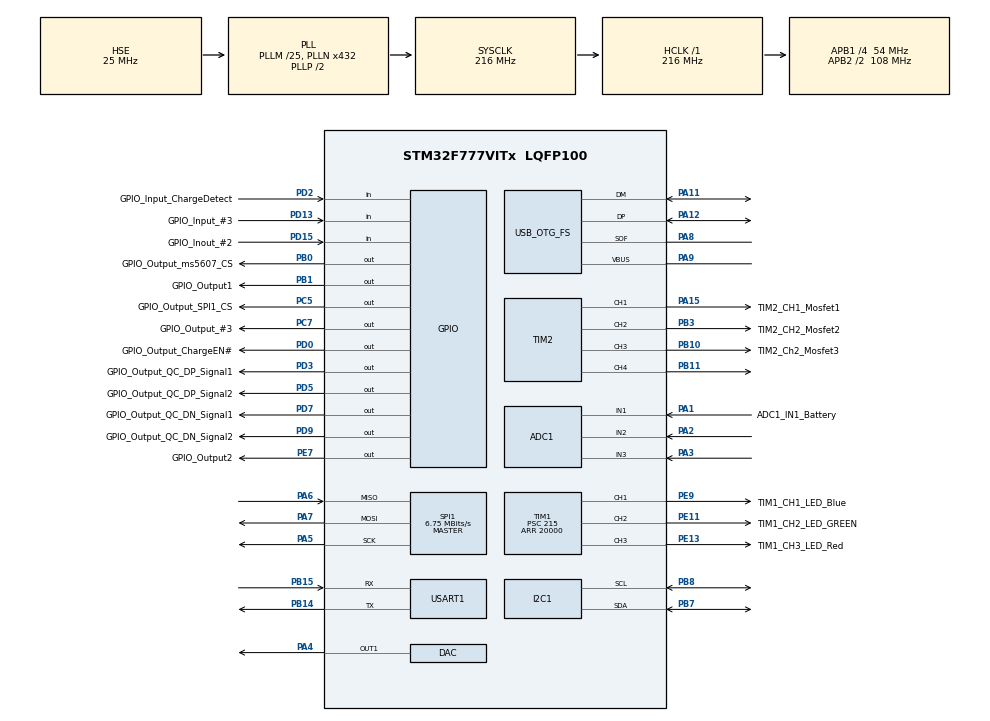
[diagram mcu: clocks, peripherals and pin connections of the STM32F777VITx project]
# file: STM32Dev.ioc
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ADC1.Channel-0\#ChannelRegularConversion=ADC_CHANNEL_1
ADC1.Channel-1\#ChannelRegularConversion=ADC_CHANNEL_1
ADC1.Channel-2\#ChannelRegularConversion=ADC_CHANNEL_1
ADC1.NbrOfConversion=3
ADC1.NbrOfConversionFlag=1
ADC1.Rank-0\#ChannelRegularConversion=1
ADC1.Rank-1\#ChannelRegularConversion=2
ADC1.Rank-2\#ChannelRegularConversion=3
ADC1.SamplingTime-0\#ChannelRegularConversion=ADC_SAMPLETIME_84CYCLES
ADC1.SamplingTime-1\#ChannelRegularConversion=ADC_SAMPLETIME_84CYCLES
ADC1.SamplingTime-2\#ChannelRegularConversion=ADC_SAMPLETIME_84CYCLES
ADC1.master=1
Dma.ADC1.1.Direction=DMA_PERIPH_TO_MEMORY
Dma.ADC1.1.FIFOMode=DMA_FIFOMODE_DISABLE
Dma.ADC1.1.Instance=DMA2_Stream0
Dma.ADC1.1.MemDataAlignment=DMA_MDATAALIGN_HALFWORD
Dma.ADC1.1.MemInc=DMA_MINC_ENABLE
Dma.ADC1.1.Mode=DMA_CIRCULAR
Dma.ADC1.1.PeriphDataAlignment=DMA_PDATAALIGN_HALFWORD
Dma.ADC1.1.PeriphInc=DMA_PINC_DISABLE
Dma.ADC1.1.Priority=DMA_PRIORITY_LOW
Dma.Request0=USART1_RX
Dma.Request1=ADC1
Dma.USART1_RX.0.Direction=DMA_PERIPH_TO_MEMORY
Dma.USART1_RX.0.FIFOMode=DMA_FIFOMODE_DISABLE
Dma.USART1_RX.0.Instance=DMA2_Stream2
Dma.USART1_RX.0.MemDataAlignment=DMA_MDATAALIGN_BYTE
Dma.USART1_RX.0.MemInc=DMA_MINC_ENABLE
Dma.USART1_RX.0.Mode=DMA_CIRCULAR
Dma.USART1_RX.0.PeriphDataAlignment=DMA_PDATAALIGN_BYTE
Dma.USART1_RX.0.PeriphInc=DMA_PINC_DISABLE
Dma.USART1_RX.0.Priority=DMA_PRIORITY_LOW
I2C1.Timing=0x20404768
Mcu.Family=STM32F7
Mcu.Name=STM32F777VITx
Mcu.Package=LQFP100
NVIC.ADC_IRQn=true\:0\:0\:false\:false\:true\:true\:true\:true
NVIC.DMA2_Stream0_IRQn=true\:0\:0\:false\:false\:true\:false\:true\:true
NVIC.DMA2_Stream2_IRQn=true\:0\:0\:false\:false\:true\:false\:true\:true
NVIC.OTG_FS_IRQn=true\:0\:0\:false\:false\:true\:true\:true\:true
NVIC.PriorityGroup=NVIC_PRIORITYGROUP_4
NVIC.SPI1_IRQn=true\:0\:0\:false\:false\:true\:true\:true\:true
NVIC.USART1_IRQn=true\:0\:0\:false\:false\:true\:true\:true\:true
PA0/WKUP.Mode=SYS_WakeUp0
PA0/WKUP.Signal=SYS_WKUP1
PA1.GPIO_Label=ADC1_IN1_Battery
PA1.Signal=ADCx_IN1
PA11.Mode=Device_Only
PA11.Signal=USB_OTG_FS_DM
PA12.Mode=Device_Only
PA12.Signal=USB_OTG_FS_DP
PA13.Mode=Serial_Wire
PA13.Signal=SYS_JTMS-SWDIO
PA14.Mode=Serial_Wire
PA14.Signal=SYS_JTCK-SWCLK
PA15.GPIO_Label=TIM2_CH1_Mosfet1
PA15.Signal=S_TIM2_CH1_ETR
PA2.Signal=ADCx_IN2
PA3.Signal=ADCx_IN3
PA4.Signal=COMP_DAC1_group
PA5.Mode=Full_Duplex_Master
PA5.Signal=SPI1_SCK
PA6.Mode=Full_Duplex_Master
PA6.Signal=SPI1_MISO
PA7.Mode=Full_Duplex_Master
PA7.Signal=SPI1_MOSI
PA8.Mode=Activate_SOF_FS
PA8.Signal=USB_OTG_FS_SOF
PA9.Mode=Activate_VBUS
PA9.Signal=USB_OTG_FS_VBUS
PB0.GPIO_Label=GPIO_Output_ms5607_CS
PB0.Signal=GPIO_Output
PB1.GPIO_Label=GPIO_Output1
PB1.Signal=GPIO_Output
PB10.GPIO_Label=TIM2_Ch2_Mosfet3
PB10.Signal=S_TIM2_CH3
PB11.Signal=S_TIM2_CH4
PB14.Mode=Asynchronous
PB14.Signal=USART1_TX
PB15.Mode=Asynchronous
PB15.Signal=USART1_RX
PB3.GPIO_Label=TIM2_CH2_Mosfet2
PB3.Signal=S_TIM2_CH2
PB7.Mode=I2C
PB7.Signal=I2C1_SDA
PB8.Mode=I2C
PB8.Signal=I2C1_SCL
PC13.GPIO_Label=SYS_WKUP4_Tamper
PC13.Mode=SYS_WakeUp3
PC13.Signal=SYS_WKUP4
PC5.GPIO_Label=GPIO_Output_SPI1_CS
PC5.Signal=GPIO_Output
PC7.GPIO_Label=GPIO_Output_\#3
PC7.Signal=GPIO_Output
PD0.GPIO_Label=GPIO_Output_ChargeEN\#
PD0.Signal=GPIO_Output
PD13.GPIO_Label=GPIO_Input_\#3
PD13.Signal=GPIO_Input
PD15.GPIO_Label=GPIO_Inout_\#2
PD15.Signal=GPIO_Input
PD2.GPIO_Label=GPIO_Input_ChargeDetect
PD2.Signal=GPIO_Input
PD3.GPIO_Label=GPIO_Output_QC_DP_Signal1
PD3.Signal=GPIO_Output
PD5.GPIO_Label=GPIO_Output_QC_DP_Signal2
PD5.Signal=GPIO_Output
PD7.GPIO_Label=GPIO_Output_QC_DN_Signal1
PD7.Signal=GPIO_Output
PD9.GPIO_Label=GPIO_Output_QC_DN_Signal2
PD9.Signal=GPIO_Output
PE11.GPIO_Label=TIM1_CH2_LED_GREEN
PE11.Signal=S_TIM1_CH2
PE13.GPIO_Label=TIM1_CH3_LED_Red
PE13.Signal=S_TIM1_CH3
PE7.GPIO_Label=GPIO_Output2
PE7.Signal=GPIO_Output
PE9.GPIO_Label=TIM1_CH1_LED_Blue
PE9.Signal=S_TIM1_CH1
PH0/OSC_IN.Mode=HSE-External-Oscillator
PH0/OSC_IN.Signal=RCC_OSC_IN
PH1/OSC_OUT.Mode=HSE-External-Oscillator
PH1/OSC_OUT.Signal=RCC_OSC_OUT
ProjectManager.HeapSize=0x200
ProjectManager.StackSize=0x400
ProjectManager.TargetToolchain=STM32CubeIDE
RCC.AHBFreq_Value=216000000
RCC.APB1CLKDivider=RCC_HCLK_DIV4
RCC.APB1Freq_Value=54000000
RCC.APB1TimFreq_Value=108000000
RCC.APB2CLKDivider=RCC_HCLK_DIV2
RCC.APB2Freq_Value=108000000
RCC.APB2TimFreq_Value=216000000
RCC.CortexFreq_Value=216000000
RCC.HCLKFreq_Value=216000000
RCC.HSE_VALUE=25000000
RCC.HSI_VALUE=16000000
RCC.LSE_VALUE=32768
RCC.PLLM=25
RCC.PLLN=432
RCC.PLLQ=9
RCC.SYSCLKFreq_VALUE=216000000
RCC.SYSCLKSource=RCC_SYSCLKSOURCE_PLLCLK
RCC.USBFreq_Value=48000000
RCC.VCOOutputFreq_Value=432000000
SH.ADCx_IN1.0=ADC1_IN1,IN1
SH.ADCx_IN2.0=ADC1_IN2,IN2
SH.ADCx_IN3.0=ADC1_IN3,IN3
SH.COMP_DAC1_group.0=DAC_OUT1,DAC_OUT1
SH.S_TIM1_CH1.0=TIM1_CH1,PWM Generation1 CH1
SH.S_TIM1_CH2.0=TIM1_CH2,PWM Generation2 CH2
SH.S_TIM1_CH3.0=TIM1_CH3,PWM Generation3 CH3
SH.S_TIM2_CH1_ETR.0=TIM2_CH1,PWM Generation1 CH1
SH.S_TIM2_CH2.0=TIM2_CH2,PWM Generation2 CH2
SH.S_TIM2_CH3.0=TIM2_CH3,PWM Generation3 CH3
SH.S_TIM2_CH4.0=TIM2_CH4,PWM Generation4 CH4
SPI1.BaudRatePrescaler=SPI_BAUDRATEPRESCALER_16
SPI1.CalculateBaudRate=6.75 MBits/s
SPI1.DataSize=SPI_DATASIZE_8BIT
SPI1.Direction=SPI_DIRECTION_2LINES
SPI1.Mode=SPI_MODE_MASTER
SPI1.VirtualType=VM_MASTER
STMicroelectronics.X-CUBE-DISPLAY.3.0.0_IsPackSelfContextualization=true
TIM1.AutoReloadPreload=TIM_AUTORELOAD_PRELOAD_ENABLE
TIM1.Channel-PWM\ Generation1\ CH1=TIM_CHANNEL_1
TIM1.Channel-PWM\ Generation2\ CH2=TIM_CHANNEL_2
TIM1.Channel-PWM\ Generation3\ CH3=TIM_CHANNEL_3
TIM1.Period=20000
TIM1.Prescaler=215
TIM2.Channel-PWM\ Generation1\ CH1=TIM_CHANNEL_1
TIM2.Channel-PWM\ Generation2\ CH2=TIM_CHANNEL_2
TIM2.Channel-PWM\ Generation3\ CH3=TIM_CHANNEL_3
TIM2.Channel-PWM\ Generation4\ CH4=TIM_CHANNEL_4
USART1.VirtualMode-Asynchronous=VM_ASYNC
USB_DEVICE.CLASS_NAME_FS=CDC
USB_DEVICE.VirtualMode-CDC_FS=Cdc
USB_DEVICE.VirtualModeFS=Cdc_FS
USB_OTG_FS.Sof_enable=ENABLE
USB_OTG_FS.VirtualMode=Device_Only
USB_OTG_FS.lpm_enable=ENABLE
VP_TIM1_VS_ClockSourceINT.Mode=Internal
VP_USB_DEVICE_VS_USB_DEVICE_CDC_FS.Mode=CDC_FS
board=custom

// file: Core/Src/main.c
/* USER CODE BEGIN Header */
/**
  ******************************************************************************
  * @file           : main.c
  * @brief          : Main program body
  ******************************************************************************
  * @attention
  *
  * Copyright (c) 2024 STMicroelectronics.
  * All rights reserved.
  *
  * This software is licensed under terms that can be found in the LICENSE file
  * in the root directory of this software component.
  * If no LICENSE file comes with this software, it is provided AS-IS.
  *
  ******************************************************************************
  */
/* USER CODE END Header */
#include "main.h"
#include "adc.h"
#include "dac.h"
#include "dma.h"
#include "i2c.h"
#include "spi.h"
#include "tim.h"
#include "usart.h"
#include "usb_device.h"
#include "gpio.h"

/* USER CODE BEGIN Includes */
#include "GUI_Paint.h"
#include "lvgl.h"
#include "ui.h"
/* USER CODE END Includes */

/* USER CODE BEGIN PV */
uint8_t baroArrayCounter = 0;

uint8_t baroReadingArray[100] = {0};

uint32_t baroInitSampleTime = 0;

static uint8_t buf_1[40960];

float versionID = 1.000;
float buildID = 1.020;

tBARODATA ms5607Baro = {0};
/* USER CODE END PV */

void SystemClock_Config(void);
/* USER CODE BEGIN PFP */
lv_obj_t * find_textarea(lv_obj_t * parent_screen);
void my_flush_cb(lv_display_t * disp, const lv_area_t * area, uint8_t * color_p);
/* USER CODE END PFP */

int main(void)
{

  /* MCU Configuration--------------------------------------------------------*/

  /* Reset of all peripherals, Initializes the Flash interface and the Systick. */
  HAL_Init();

  /* Configure the system clock */
  SystemClock_Config();

  /* Initialize all configured peripherals */
  MX_GPIO_Init();
  MX_DMA_Init();
  MX_I2C1_Init();
  MX_TIM1_Init();
  MX_TIM2_Init();
  MX_USART1_UART_Init();
  MX_ADC1_Init();
  MX_DAC_Init();
  MX_USB_DEVICE_Init();
  MX_SPI1_Init();
  /* USER CODE BEGIN 2 */

//  initLEDSequences();
//  led_init();
//  initMS56XXOutputStruct(&ms5607Baro);
//  MS56XXInit();
//  ms5607Baro.filteredData.air_pressure_out = ms5607Baro.rawData.air_pressure_out;

  memset(baroReadingArray, 120, sizeof(baroReadingArray));
  screenInit();
  screenClear();
  renderCompleteFrame = true;

  lv_init();

  lv_display_t * disp = lv_display_create(128, 160); /*Basic initialization with horizontal and vertical resolution in pixels*/
  lv_display_set_flush_cb(disp, my_flush_cb); /*Set a flush callback to draw to the display*/
  lv_display_set_buffers(disp, buf_1, NULL, sizeof(buf_1), LV_DISPLAY_RENDER_MODE_FULL); /*Set an initialized buffer*/
  ui_init();

//  lv_obj_set_style_bg_color(lv_screen_active(), lv_color_hex(0x003a57), LV_PART_MAIN);
//  lv_obj_set_style_text_color(lv_screen_active(), lv_color_hex(0xffffff), LV_PART_MAIN);
//
//  /*Create a spinner*/
//  lv_obj_t * spinner = lv_spinner_create(lv_screen_active());
//  lv_obj_set_size(spinner, 64, 64);
//  lv_obj_align(spinner, LV_ALIGN_CENTER, 0, 0);

  baroInitSampleTime = HAL_GetTick();
  /* USER CODE END 2 */

  /* Infinite loop */
  /* USER CODE BEGIN WHILE */
  while (1)
  {
	  checkButtonPress();
	  checkForButtonPattern();
//
//	  MS56XXCyclicRead();
//	  if ( (HAL_GetTick() - baroInitSampleTime <= 2000) && (ms5607Baro.isNewBaroDataAvailable) )
//	  {
//		  ms5607Baro.filteredData.air_pressure_out = (ms5607Baro.rawData.air_pressure_out + ms5607Baro.filteredData.air_pressure_out)/2;
//		  ms5607Baro.isNewBaroDataAvailable = false;
//		  altitudeFromMeasurements(&ms5607Baro);
//		  ms5607Baro.start_height = ms5607Baro.filteredData.altitude_out;
//	  }
//	  else if ( (HAL_GetTick() - baroInitSampleTime > 2000) && (ms5607Baro.isNewBaroDataAvailable) )
//	  {
//		  ms5607Baro.filteredData.air_pressure_out = ms5607Baro.rawData.air_pressure_out;
//		  altitudeFromMeasurements(&ms5607Baro);
//		  ms5607Baro.filteredData.altitude_out = ms5607Baro.filteredData.altitude_out - ms5607Baro.start_height;
//
//		  memcpy(&baroReadingArray[0], &baroReadingArray[1], sizeof(baroReadingArray) - 1);
//		  //		  float localAmpMeasuremnt = (3.3 * (ampReading ) / 4096.0) / 0.4;
//		  //
//		  //
//		  //		  milliAmpsForDisplay = (uint16_t)(localAmpMeasuremnt * 1000.0);
//		  baroReadingArray[99] = (uint8_t)(120 - 20 * (ms5607Baro.filteredData.altitude_out) / 5.0);
//
//		  ms5607Baro.isNewBaroDataAvailable = false;
//	  }
    /* USER CODE END WHILE */

    /* USER CODE BEGIN 3 */
	  ms5607ChipUnSelected();
	  HAL_GPIO_WritePin(GPIOB,GPIO_PIN_1,GPIO_PIN_RESET);
	  HAL_Delay(1);
//	  screenUpdate(false);
//	  displayNextFrame();

	  /*Create a spinner*/
//	  const char * name = "gpsTimeText";  // Name assigned during creation
//	  lv_obj_t *ta = lv_obj_get_display(ui_Screen1);

//	  lv_obj_t * textarea = find_textarea(lv_scr_act());
//
//	      // Check if the textarea was found
//	      if (textarea != NULL)
//	      {
//	          // Perform operations on the textarea object
//	          lv_textarea_set_text(textarea, "Hello LVGL!");
//	      }

	  lv_textarea_set_text(ui_gpsTimeText, "Test");

//	  lv_textarea_set_text(ta, "Hello");
	  lv_chart_series_t * ui_baro1_series_1 = lv_chart_add_series(ui_baro1, lv_color_hex(0x808080), LV_CHART_AXIS_PRIMARY_Y);
	  	static lv_coord_t ui_baro1_series_1_array[] = { 0, 10, 20, 40, 80, 80, 40, 20, 10, 30 };
	  	lv_chart_set_ext_y_array(ui_baro1, ui_baro1_series_1, ui_baro1_series_1_array);
	      lv_chart_set_next_value(ui_baro1, ui_baro1_series_1, 30);
    lv_timer_handler();
    HAL_Delay(5);
    //	  HAL_Delay(1);
    HAL_GPIO_WritePin(GPIOB, GPIO_PIN_1, GPIO_PIN_SET);
  }
  /* USER CODE END 3 */
}

void SystemClock_Config(void)
{
  RCC_OscInitTypeDef RCC_OscInitStruct = {0};
  RCC_ClkInitTypeDef RCC_ClkInitStruct = {0};

  /** Configure the main internal regulator output voltage
  */
  __HAL_RCC_PWR_CLK_ENABLE();
  __HAL_PWR_VOLTAGESCALING_CONFIG(PWR_REGULATOR_VOLTAGE_SCALE1);

  /** Initializes the RCC Oscillators according to the specified parameters
  * in the RCC_OscInitTypeDef structure.
  */
  RCC_OscInitStruct.OscillatorType = RCC_OSCILLATORTYPE_HSE;
  RCC_OscInitStruct.HSEState = RCC_HSE_ON;
  RCC_OscInitStruct.PLL.PLLState = RCC_PLL_ON;
  RCC_OscInitStruct.PLL.PLLSource = RCC_PLLSOURCE_HSE;
  RCC_OscInitStruct.PLL.PLLM = 25;
  RCC_OscInitStruct.PLL.PLLN = 432;
  RCC_OscInitStruct.PLL.PLLP = RCC_PLLP_DIV2;
  RCC_OscInitStruct.PLL.PLLQ = 9;
  RCC_OscInitStruct.PLL.PLLR = 2;
  if (HAL_RCC_OscConfig(&RCC_OscInitStruct) != HAL_OK)
  {
    Error_Handler();
  }

  /** Activate the Over-Drive mode
  */
  if (HAL_PWREx_EnableOverDrive() != HAL_OK)
  {
    Error_Handler();
  }

  /** Initializes the CPU, AHB and APB buses clocks
  */
  RCC_ClkInitStruct.ClockType = RCC_CLOCKTYPE_HCLK|RCC_CLOCKTYPE_SYSCLK
                              |RCC_CLOCKTYPE_PCLK1|RCC_CLOCKTYPE_PCLK2;
  RCC_ClkInitStruct.SYSCLKSource = RCC_SYSCLKSOURCE_PLLCLK;
  RCC_ClkInitStruct.AHBCLKDivider = RCC_SYSCLK_DIV1;
  RCC_ClkInitStruct.APB1CLKDivider = RCC_HCLK_DIV4;
  RCC_ClkInitStruct.APB2CLKDivider = RCC_HCLK_DIV2;

  if (HAL_RCC_ClockConfig(&RCC_ClkInitStruct, FLASH_LATENCY_7) != HAL_OK)
  {
    Error_Handler();
  }
}

/* USER CODE BEGIN 4 */
void my_flush_cb(lv_display_t * disp, const lv_area_t * area, uint8_t * color_p)
{
  //Set the drawing region
//  set_draw_window(area->x1, area->y1, area->x2, area->y2);

  int height = area->y2 - area->y1 + 1;
  int width = area->x2 - area->x1 + 1;

  //We will do the SPI write manually here for speed
//  HAL_GPIO_WritePin(DC_PORT, DC_PIN, GPIO_PIN_SET);
  //CS low to begin data
//  HAL_GPIO_WritePin(CS_PORT, CS_PIN, GPIO_PIN_RESET);

  //Write colour to each pixel
  for (int i = 0; i < width * height; i = i + 1)
  {
//    uint16_t color_full = (color_p->red << 11) | (color_p->green << 5) | (color_p->blue);
//    nextFrameToDraw[2*i] = (uint8_t)((color_full & 0xFF00) >> 8 );
//    nextFrameToDraw[2*i + 1] = (uint8_t)((color_full & 0x00FF));
	  nextFrameToDraw[2 * i] = *(color_p + 1);
	  nextFrameToDraw[2 * i + 1] = *(color_p);
//    parallel_write(color_full);

    color_p++;
    color_p++;
  }

  //Return CS to high
//  HAL_GPIO_WritePin(CS_PORT, CS_PIN, GPIO_PIN_SET);

  /* IMPORTANT!!!
  * Inform the graphics library that you are ready with the flushing*/
  displayNextFrame();
  lv_display_flush_ready(disp);

}

// Example function to find a textarea by iterating through child objects
lv_obj_t * find_textarea(lv_obj_t * parent_screen)
{
    lv_obj_t * ta = NULL;
    lv_obj_t * child = NULL;

    // Iterate through all child objects of the screen
    child = lv_obj_get_child(parent_screen, NULL);
    while (child != NULL)
    {
        // Check if the child object is a textarea
        if (lv_obj_get_class(child) == &lv_textarea_class)
        {
            ta = child;  // Found the textarea
            break;
        }
        // Move to the next child object
//        child = lv_obj_get_child_back(parent_screen, child);
    }

    return ta;
}
/* USER CODE END 4 */

void Error_Handler(void)
{
  __disable_irq();
  while (1)
  {
  }
}
